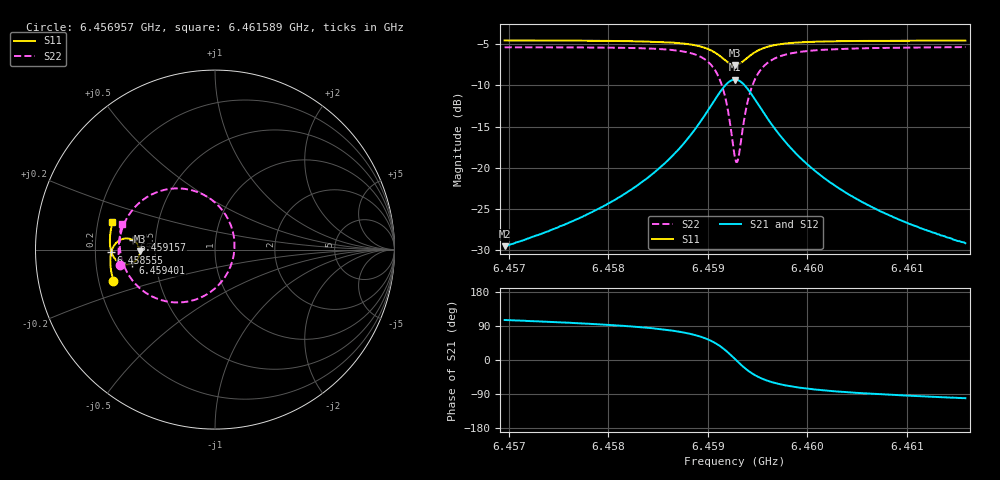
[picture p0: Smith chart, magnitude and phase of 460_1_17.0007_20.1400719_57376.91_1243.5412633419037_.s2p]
#  HZ  S  RI  R  50.00
! Rohde & Schwarz Vector Network Analyzer
! Rohde-Schwarz,ZNB20-2Port,1311601062101988,3.16
! Created: UTC 3/20/2024, 11:12:43 PM
! freq[Hz]  re:S11  im:S11  re:S21  im:S21  re:S12  im:S12  re:S22  im:S22
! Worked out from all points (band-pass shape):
!   401 points, 6.456957 GHz to 6.461589 GHz, reference 50 ohm
!   highest |S21| = -9.29 dB at 6.459273 GHz (marker M1); lowest = -29.5 dB at 6.456957 GHz (marker M2)
!   |S21| within 3 dB of the highest: 6.459042 GHz to 6.459505 GHz (463.4 kHz wide, 0.00717 % of centre)
!   lowest |S11| = -7.5 dB at 6.459273 GHz (marker M3), VSWR 2.44, Z = 20.5 - j0.508 ohm
!   |S11| at or under -10 dB: nowhere
!   |S22| runs from -19.3 to -5.4 dB; largest |S21 - S12| = 0.013
!   S11 on the Smith chart (normalised r, x): 6.456957 GHz: 0.26, -0.14; 6.458555 GHz: 0.27, -0.01; 6.459157 GHz: 0.37, +0.05; 6.459401 GHz: 0.37, -0.07; 6.461589 GHz: 0.26, +0.12
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6.4569571e9  -0.5663 -0.1737  -0.00899 0.0322  -0.00724 0.0321  -0.5313 -0.0866
6.457733e9  -0.5805 -0.1058  -0.00574 0.05  -0.00319 0.0493  -0.5371 0.00351
6.45815e9  -0.5836 -0.0645  -0.000155 0.0686  0.00322 0.0674  -0.5298 0.0688
6.458509e9  -0.5798 -0.0219  0.0138 0.098  0.0177 0.0953  -0.5044 0.1485
6.4585553e9  -0.5786 -0.0156  0.0173 0.1035  0.0212 0.1004  -0.4979 0.1617
6.4587637e9  -0.5663 0.0162  0.0431 0.1349  0.0472 0.1301  -0.4494 0.2331
6.4589143e9  -0.5452 0.0424  0.0854 0.1651  0.0887 0.1586  -0.3713 0.2971
6.4590648e9  -0.4994 0.0621  0.1769 0.184  0.1778 0.1767  -0.2044 0.341
6.4591575e9  -0.455 0.0521  0.2661 0.1532  0.2664 0.1475  -0.0389 0.2916
6.4592038e9  -0.4341 0.0334  0.3096 0.1107  0.3108 0.1056  0.0436 0.2159
6.4592733e9  -0.4193 -0.0102  0.3428 0.0146  0.3465 0.00778  0.1085 0.0374
6.4592849e9  -0.4196 -0.0183  0.3426 -0.00308  0.3464 -0.0105  0.1083 0.00417
6.459308e9  -0.4231 -0.0337  0.3372 -0.0376  0.341 -0.0464  0.0975 -0.0613
6.4593544e9  -0.4385 -0.0596  0.309 -0.0973  0.3112 -0.1088  0.0404 -0.1739
6.4594007e9  -0.4606 -0.0758  0.2673 -0.138  0.2665 -0.151  -0.0439 -0.2484
6.4594933e9  -0.5036 -0.0825  0.183 -0.1691  0.1768 -0.1805  -0.2116 -0.2945
6.4596439e9  -0.5471 -0.0621  0.0956 -0.1556  0.0874 -0.1616  -0.3781 -0.2457
6.459806e9  -0.5685 -0.0344  0.051 -0.1278  0.0436 -0.1305  -0.4583 -0.174
6.4600492e9  -0.5812 0.00123  0.0222 -0.0965  0.0164 -0.097  -0.5059 -0.092
6.4603967e9  -0.5855 0.0423  0.00635 -0.0698  0.00218 -0.0694  -0.5275 -0.013
6.4608251e9  -0.5836 0.0851  -0.00139 -0.0515  -0.00422 -0.0506  -0.5316 0.0551
6.4615895e9  -0.5712 0.1527  -0.0065 -0.0342  -0.00828 -0.0333  -0.5201 0.1448
